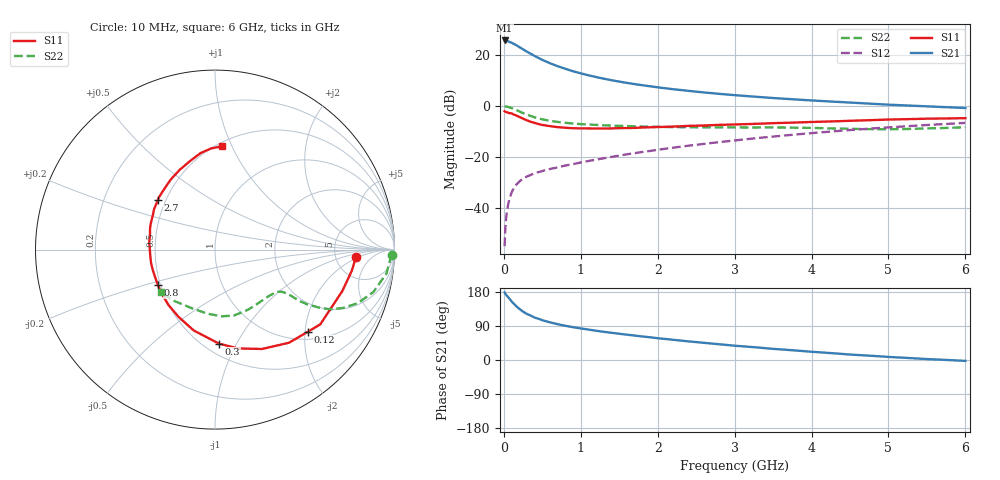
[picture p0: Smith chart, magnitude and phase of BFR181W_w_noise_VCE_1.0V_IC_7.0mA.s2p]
! Infineon Technologies  Discrete & RF Semiconductors
! BFR181W
! VCE =  1.0 V,  IC =  7.0 mA
! Common Emitter S-Parameters:  Jan 2017
# GHz  S  MA  R  50
!  f  S11  S21  S12  S22
! GHz  MAG  ANG  MAG  ANG  MAG  ANG  MAG  ANG
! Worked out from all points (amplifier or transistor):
!   77 points, 10 MHz to 6 GHz, reference 50 ohm
!   highest |S21| = 25.7 dB at 10 MHz (marker M1)
!   |S21| within 3 dB of that: start of sweep to 224.5 MHz
!   unconditionally stable (mu >= 1): 876 MHz to 3.306 GHz
!   at 130 MHz: K = 0.25, MSG = 28.2 dB, |S12| = -32.2 dB
!   at 2.2 GHz: K = 1.12, MAG = 9.4 dB, |S12| = -16.3 dB
!   at 6 GHz: K = 0.88, MSG = 2.9 dB, |S12| = -6.6 dB
!   lowest NFmin = 1.08 dB at 450 MHz
!   S11 on the Smith chart (normalised r, x): 10 MHz: 8.03, -1.68; 120 MHz: 1.18, -2.07; 300 MHz: 0.59, -0.85; 800 MHz: 0.48, -0.22; 2.7 GHz: 0.45, +0.30; 6 GHz: 0.53, +0.92
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0.01  0.7869 -2.9  19.21 178.4  0.0018 80.3  0.9839 -1.6
0.02  0.7715 -8.7  19.04 174.7  0.0042 88.8  0.9788 -2.9
0.05  0.7459 -18.1  18.59 167.1  0.0106 80.6  0.9648 -7.9
0.1  0.7194 -35.4  17.39 154.7  0.0201 72.6  0.9136 -15.0
0.12  0.6904 -41.5  16.73 150.7  0.0231 70.2  0.8874 -17.1
0.15  0.663 -51.5  15.91 144.2  0.0276 67.5  0.8505 -20.5
0.2  0.6124 -64.7  14.31 135.1  0.0329 62.4  0.7844 -24.5
0.25  0.5652 -77.0  12.89 127.6  0.0381 58.3  0.7269 -27.2
0.3  0.5242 -87.6  11.59 121.5  0.0415 56.4  0.6752 -28.9
0.4  0.466 -104.7  9.543 112.0  0.0481 54.7  0.5998 -30.7
0.5  0.4262 -118.5  8.002 105.0  0.0533 54.5  0.5483 -31.3
0.6  0.403 -130.1  6.881 99.3  0.0585 54.8  0.513 -31.3
0.7  0.3857 -140.0  6.008 94.5  0.0627 56.5  0.4873 -31.3
0.8  0.3748 -148.2  5.345 90.3  0.0683 57.3  0.4683 -31.5
1.1  0.3641 -167.6  3.995 80.3  0.0838 60.4  0.4344 -32.7
1.5  0.3687 174.0  3.005 69.3  0.1068 62.9  0.4084 -36.5
2.1  0.3908 154.2  2.225 55.5  0.1457 64.0  0.3882 -45.9
2.7  0.4211 139.3  1.786 43.5  0.1886 62.9  0.3817 -57.9
3.1  0.4392 130.4  1.589 36.2  0.2196 61.1  0.3803 -65.9
4.1  0.4911 112.0  1.26 20.4  0.3029 54.7  0.3693 -87.0
5.1  0.5469 97.3  1.046 7.0  0.3897 45.7  0.3518 -115.9
6  0.5778 85.9  0.913 -2.3  0.467 36.5  0.3842 -141.6
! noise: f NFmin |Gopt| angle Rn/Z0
0.45  1.08  0.24  17  0.22
0.9  1.13  0.22  31  0.21
1.9  1.55  0.09  86  0.19
2.4  1.7  0.08  96  0.23
